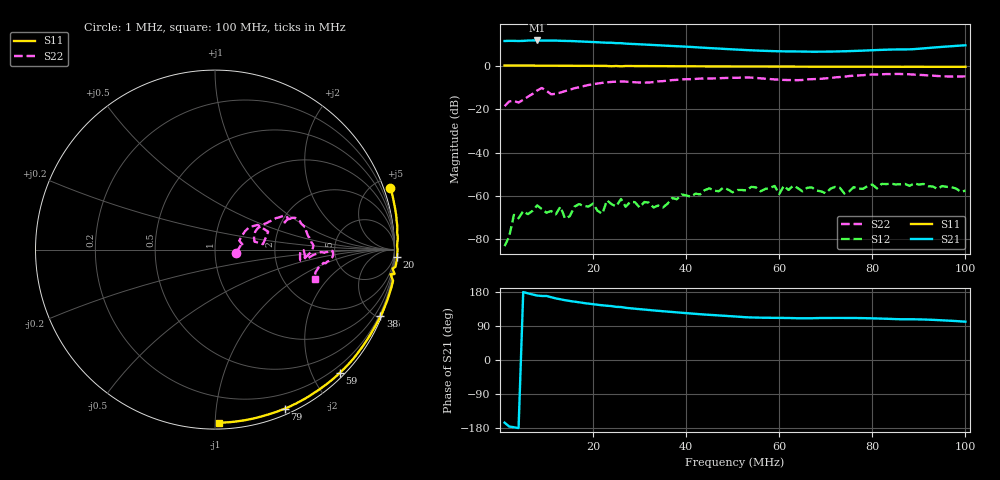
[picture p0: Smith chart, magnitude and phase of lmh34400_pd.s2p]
# HZ S RI R 50
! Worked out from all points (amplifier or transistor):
!   100 points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, 1 MHz to 100 MHz, reference 50 ohm
!   highest |S21| = 11.9 dB at 8 MHz (marker M1)
!   |S21| within 3 dB of that: start of sweep to 41.03 MHz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
!   unconditionally stable (mu >= 1): 23.65 MHz to 24.33 MHz; 25.67 MHz to 26.34 MHz; 34.19 MHz to end of sweep
!   at 17 MHz: K = -5.06, MSG = 37.6 dB, |S12| = -63.7 dB
!   at 51 MHz: K = 4.24, MAG = 23.2 dB, |S12| = -57.2 dB
!   at 100 MHz: K = 6.03, MAG = 22.8 dB, |S12| = -57.5 dB
!   S11 on the Smith chart (normalised r, x): 1 MHz: -0.60, +5.82; 20 MHz: -18, -45; 38 MHz: 0.09, -5.15; 59 MHz: 0.08, -2.43; 79 MHz: 0.05, -1.53; 100 MHz: 0.04, -1.02
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1000001  0.9762 0.3422  -3.68 -0.9563  6.9e-05 1e-05  0.1179 -0.0165
2000001  0.9835 0.3223  -3.824 -0.3008  7.1e-06 0.000119  0.1498 0.0331
3000001  0.9887 0.3017  -3.823 -0.1688  0.00033 0.000165  0.1556 0.0251
8000001  1.008 0.2021  -3.857 0.6751  0.000503 0.000344  0.2373 0.1377
1e7  1.012 0.1619  -3.817 0.7453  0.000336 0.000241  0.2676 0.0302
1.2e7  1.016 0.1215  -3.709 1.162  0.000198 0.000323  0.217 0.0756
1.3e7  1.015 0.0961  -3.619 1.304  0.000351 0.000447  0.224 0.1
1.4e7  1.018 0.0769  -3.537 1.442  8.93e-05 0.000287  0.2375 0.1181
1.8e7  1.017 0.00119  -3.203 1.818  0.000337 0.000489  0.3075 0.1585
2e7  1.014 -0.0387  -3.026 1.943  0.000367 0.00056  0.339 0.1753
2.2e7  1.009 -0.0808  -2.849 2.046  0.00025 0.000302  0.368 0.1835
2.3e7  1.005 -0.0966  -2.776 2.086  0.000521 0.000605  0.3787 0.1881
3.4e7  0.9518 -0.3031  -1.94 2.334  0.000274 0.00054  0.4106 0.1706
3.8e7  0.9214 -0.372  -1.683 2.339  0.000273 0.000798  0.4492 0.1761
5.1e7  0.7948 -0.5771  -0.9954 2.194  0.000682 0.0012  0.5362 0.0412
5.9e7  0.6957 -0.6867  -0.8013 2.066  0.00114 0.00129  0.4903 -0.0558
6e7  0.6821 -0.699  -0.7934 2.056  0.00074 0.000832  0.4828 -0.0597
6.1e7  0.6686 -0.7112  -0.7854 2.048  0.00133 0.00109  0.4764 -0.0603
6.7e7  0.5817 -0.7788  -0.7446 2.022  0.00146 0.000631  0.4996 -0.0263
7.9e7  0.3893 -0.886  -0.7966 2.162  0.00153 0.000762  0.6301 -0.0125
8.4e7  0.3027 -0.9166  -0.763 2.291  0.00157 0.00114  0.6556 -0.0131
1e8  0.0227 -0.9645  -0.5823 2.973  0.00119 0.000583  0.5566 -0.1656
